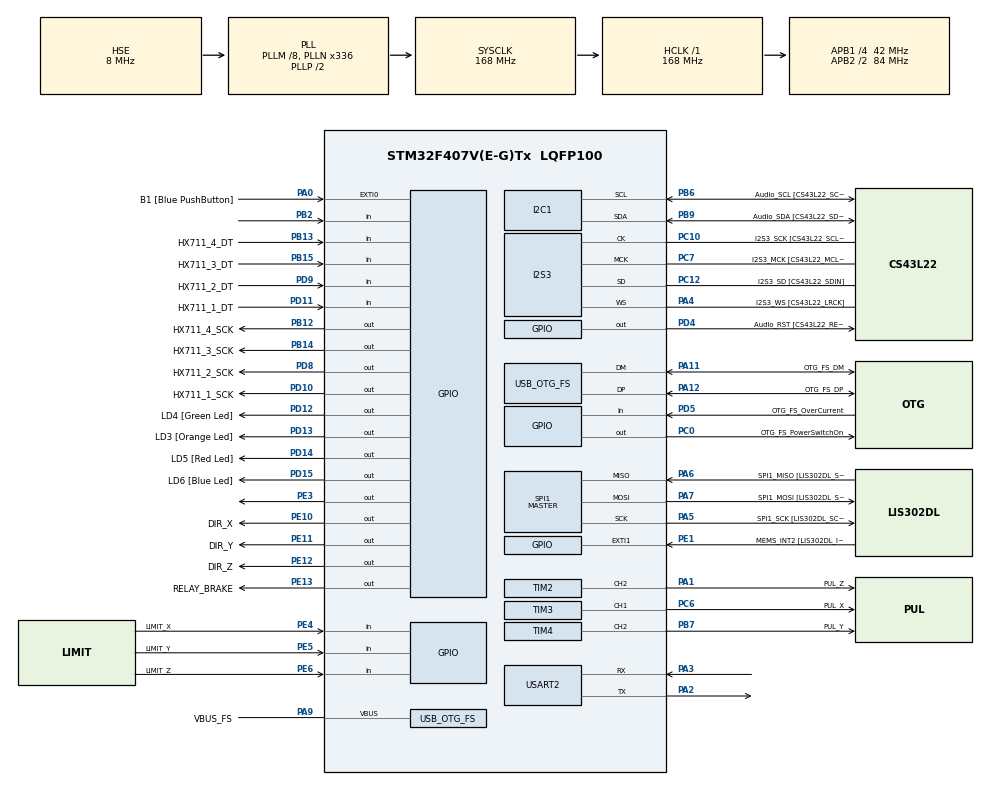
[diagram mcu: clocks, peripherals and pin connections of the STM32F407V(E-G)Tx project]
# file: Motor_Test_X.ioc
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I2S3.AudioFreq-Half_Duplex_Master=I2S_AUDIOFREQ_96K
I2S3.ErrorAudioFreq=-2.34 %
I2S3.ErrorAudioFreq-Half_Duplex_Master=0.8 %
I2S3.FullDuplexMode=I2S_FULLDUPLEXMODE_DISABLE
I2S3.Instance=SPI$Index
I2S3.RealAudioFreq=93.75 KHz
I2S3.RealAudioFreq-Half_Duplex_Master=96.774 KHz
I2S3.VirtualMode=I2S_MODE_MASTER
Mcu.Family=STM32F4
Mcu.Name=STM32F407V(E-G)Tx
Mcu.Package=LQFP100
NVIC.OTG_FS_IRQn=true\:0\:0\:false\:false\:true\:true\:true\:true
NVIC.PriorityGroup=NVIC_PRIORITYGROUP_0
NVIC.USART2_IRQn=true\:0\:0\:false\:false\:true\:true\:true\:true
PA0-WKUP.GPIO_Label=B1 [Blue PushButton]
PA0-WKUP.GPIO_ModeDefaultEXTI=GPIO_MODE_EVT_RISING
PA0-WKUP.GPIO_PuPd=GPIO_NOPULL
PA0-WKUP.Signal=GPXTI0
PA1.GPIO_Label=PUL_Z
PA1.Signal=S_TIM2_CH2
PA10.GPIO_Label=OTG_FS_ID
PA10.GPIO_Mode=GPIO_MODE_AF_PP
PA10.GPIO_PuPd=GPIO_NOPULL
PA10.GPIO_Speed=GPIO_SPEED_FREQ_LOW
PA10.Signal=USB_OTG_FS_ID
PA11.GPIO_Label=OTG_FS_DM
PA11.GPIO_Mode=GPIO_MODE_AF_PP
PA11.GPIO_PuPd=GPIO_NOPULL
PA11.GPIO_Speed=GPIO_SPEED_FREQ_LOW
PA11.Mode=Host_Only
PA11.Signal=USB_OTG_FS_DM
PA12.GPIO_Label=OTG_FS_DP
PA12.GPIO_Mode=GPIO_MODE_AF_PP
PA12.GPIO_PuPd=GPIO_NOPULL
PA12.GPIO_Speed=GPIO_SPEED_FREQ_LOW
PA12.Mode=Host_Only
PA12.Signal=USB_OTG_FS_DP
PA13.GPIO_Label=SWDIO
PA13.Mode=Serial_Wire
PA13.Signal=SYS_JTMS-SWDIO
PA14.GPIO_Label=SWCLK
PA14.Mode=Serial_Wire
PA14.Signal=SYS_JTCK-SWCLK
PA2.Mode=Asynchronous
PA2.Signal=USART2_TX
PA3.Mode=Asynchronous
PA3.Signal=USART2_RX
PA4.GPIO_Label=I2S3_WS [CS43L22_LRCK]
PA4.GPIO_Mode=GPIO_MODE_AF_PP
PA4.GPIO_PuPd=GPIO_NOPULL
PA4.GPIO_Speed=GPIO_SPEED_FREQ_LOW
PA4.Mode=Half_Duplex_Master
PA4.Signal=I2S3_WS
PA5.GPIO_Label=SPI1_SCK [LIS302DL_SCL/SPC]
PA5.GPIO_Mode=GPIO_MODE_AF_PP
PA5.GPIO_PuPd=GPIO_NOPULL
PA5.GPIO_Speed=GPIO_SPEED_FREQ_LOW
PA5.Mode=Full_Duplex_Master
PA5.Signal=SPI1_SCK
PA6.GPIO_Label=SPI1_MISO [LIS302DL_SDO]
PA6.GPIO_Mode=GPIO_MODE_AF_PP
PA6.GPIO_PuPd=GPIO_NOPULL
PA6.GPIO_Speed=GPIO_SPEED_FREQ_LOW
PA6.Mode=Full_Duplex_Master
PA6.Signal=SPI1_MISO
PA7.GPIO_Label=SPI1_MOSI [LIS302DL_SDA/SDI/SDO]
PA7.GPIO_Mode=GPIO_MODE_AF_PP
PA7.GPIO_PuPd=GPIO_NOPULL
PA7.GPIO_Speed=GPIO_SPEED_FREQ_LOW
PA7.Mode=Full_Duplex_Master
PA7.Signal=SPI1_MOSI
PA9.GPIO_Label=VBUS_FS
PA9.GPIO_Mode=GPIO_MODE_INPUT
PA9.GPIO_PuPd=GPIO_NOPULL
PA9.Mode=Activate_VBUS
PA9.Signal=USB_OTG_FS_VBUS
PB10.GPIO_Label=CLK_IN [MP45DT02_CLK]
PB10.GPIO_Mode=GPIO_MODE_AF_PP
PB10.GPIO_PuPd=GPIO_NOPULL
PB10.GPIO_Speed=GPIO_SPEED_FREQ_LOW
PB10.Signal=I2S2_CK
PB12.GPIO_Label=HX711_4_SCK
PB12.Signal=GPIO_Output
PB13.GPIO_Label=HX711_4_DT
PB13.Signal=GPIO_Input
PB14.GPIO_Label=HX711_3_SCK
PB14.Signal=GPIO_Output
PB15.GPIO_Label=HX711_3_DT
PB15.Signal=GPIO_Input
PB2.Signal=GPIO_Input
PB3.GPIO_Label=SWO
PB3.Signal=SYS_JTDO-SWO
PB6.GPIO_Label=Audio_SCL [CS43L22_SCL]
PB6.GPIO_Mode=GPIO_MODE_AF_OD
PB6.GPIO_Pu=GPIO_PULLUP
PB6.GPIO_PuPd=GPIO_NOPULL
PB6.GPIO_Speed=GPIO_SPEED_FREQ_LOW
PB6.Mode=I2C
PB6.Signal=I2C1_SCL
PB7.GPIO_Label=PUL_Y
PB7.Signal=S_TIM4_CH2
PB9.GPIO_Label=Audio_SDA [CS43L22_SDA]
PB9.GPIO_Mode=GPIO_MODE_AF_OD
PB9.GPIO_Pu=GPIO_PULLUP
PB9.GPIO_PuPd=GPIO_NOPULL
PB9.GPIO_Speed=GPIO_SPEED_FREQ_LOW
PB9.Mode=I2C
PB9.Signal=I2C1_SDA
PC0.GPIO_Label=OTG_FS_PowerSwitchOn
PC0.GPIO_PuPd=GPIO_NOPULL
PC0.GPIO_Speed=GPIO_SPEED_FREQ_LOW
PC0.PinState=GPIO_PIN_SET
PC0.Signal=GPIO_Output
PC10.GPIO_Label=I2S3_SCK [CS43L22_SCLK]
PC10.GPIO_Mode=GPIO_MODE_AF_PP
PC10.GPIO_PuPd=GPIO_NOPULL
PC10.GPIO_Speed=GPIO_SPEED_FREQ_LOW
PC10.Mode=Half_Duplex_Master
PC10.Signal=I2S3_CK
PC12.GPIO_Label=I2S3_SD [CS43L22_SDIN]
PC12.GPIO_Mode=GPIO_MODE_AF_PP
PC12.GPIO_PuPd=GPIO_NOPULL
PC12.GPIO_Speed=GPIO_SPEED_FREQ_LOW
PC12.Mode=Half_Duplex_Master
PC12.Signal=I2S3_SD
PC14-OSC32_IN.GPIO_Label=PC14-OSC32_IN
PC14-OSC32_IN.Mode=LSE-External-Oscillator
PC14-OSC32_IN.Signal=RCC_OSC32_IN
PC15-OSC32_OUT.GPIO_Label=PC15-OSC32_OUT
PC15-OSC32_OUT.Mode=LSE-External-Oscillator
PC15-OSC32_OUT.Signal=RCC_OSC32_OUT
PC3.GPIO_Label=PDM_OUT [MP45DT02_DOUT]
PC3.GPIO_Mode=GPIO_MODE_AF_PP
PC3.GPIO_PuPd=GPIO_NOPULL
PC3.GPIO_Speed=GPIO_SPEED_FREQ_LOW
PC3.Signal=I2S2_SD
PC6.GPIO_Label=PUL_X
PC6.Signal=S_TIM3_CH1
PC7.GPIO_Label=I2S3_MCK [CS43L22_MCLK]
PC7.GPIO_Mode=GPIO_MODE_AF_PP
PC7.GPIO_PuPd=GPIO_NOPULL
PC7.GPIO_Speed=GPIO_SPEED_FREQ_LOW
PC7.Mode=Master_Clock_Activated
PC7.Signal=I2S3_MCK
PD10.GPIO_Label=HX711_1_SCK
PD10.Signal=GPIO_Output
PD11.GPIO_Label=HX711_1_DT
PD11.Signal=GPIO_Input
PD12.GPIO_Label=LD4 [Green Led]
PD12.GPIO_PuPd=GPIO_NOPULL
PD12.GPIO_Speed=GPIO_SPEED_FREQ_LOW
PD12.Signal=GPIO_Output
PD13.GPIO_Label=LD3 [Orange Led]
PD13.GPIO_PuPd=GPIO_NOPULL
PD13.GPIO_Speed=GPIO_SPEED_FREQ_LOW
PD13.Signal=GPIO_Output
PD14.GPIO_Label=LD5 [Red Led]
PD14.GPIO_PuPd=GPIO_NOPULL
PD14.GPIO_Speed=GPIO_SPEED_FREQ_LOW
PD14.Signal=GPIO_Output
PD15.GPIO_Label=LD6 [Blue Led]
PD15.GPIO_PuPd=GPIO_NOPULL
PD15.GPIO_Speed=GPIO_SPEED_FREQ_LOW
PD15.Signal=GPIO_Output
PD4.GPIO_Label=Audio_RST [CS43L22_RESET]
PD4.GPIO_PuPd=GPIO_NOPULL
PD4.GPIO_Speed=GPIO_SPEED_FREQ_LOW
PD4.Signal=GPIO_Output
PD5.GPIO_Label=OTG_FS_OverCurrent
PD5.GPIO_Mode=GPIO_MODE_INPUT
PD5.GPIO_PuPd=GPIO_NOPULL
PD5.Signal=GPIO_Input
PD8.GPIO_Label=HX711_2_SCK
PD8.Signal=GPIO_Output
PD9.GPIO_Label=HX711_2_DT
PD9.Signal=GPIO_Input
PE1.GPIO_Label=MEMS_INT2 [LIS302DL_INT2]
PE1.GPIO_ModeDefaultEXTI=GPIO_MODE_EVT_RISING
PE1.GPIO_PuPd=GPIO_NOPULL
PE1.Signal=GPXTI1
PE10.GPIO_Label=DIR_X
PE10.Signal=GPIO_Output
PE11.GPIO_Label=DIR_Y
PE11.Signal=GPIO_Output
PE12.GPIO_Label=DIR_Z
PE12.Signal=GPIO_Output
PE13.GPIO_Label=RELAY_BRAKE
PE13.GPIO_ModeDefaultOutputPP=GPIO_MODE_OUTPUT_OD
PE13.GPIO_PuPd=GPIO_NOPULL
PE13.PinState=GPIO_PIN_SET
PE13.Signal=GPIO_Output
PE3.Signal=GPIO_Output
PE4.GPIO_Label=LIMIT_X
PE4.GPIO_PuPd=GPIO_PULLUP
PE4.Signal=GPIO_Input
PE5.GPIO_Label=LIMIT_Y
PE5.GPIO_PuPd=GPIO_PULLUP
PE5.Signal=GPIO_Input
PE6.GPIO_Label=LIMIT_Z
PE6.GPIO_PuPd=GPIO_PULLUP
PE6.Signal=GPIO_Input
PH0-OSC_IN.GPIO_Label=PH0-OSC_IN
PH0-OSC_IN.Mode=HSE-External-Oscillator
PH0-OSC_IN.Signal=RCC_OSC_IN
PH1-OSC_OUT.GPIO_Label=PH1-OSC_OUT
PH1-OSC_OUT.Mode=HSE-External-Oscillator
PH1-OSC_OUT.Signal=RCC_OSC_OUT
ProjectManager.HeapSize=0x200
ProjectManager.StackSize=0x400
ProjectManager.TargetToolchain=STM32CubeIDE
RCC.48MHZClocksFreq_Value=48000000
RCC.AHBFreq_Value=168000000
RCC.APB1CLKDivider=RCC_HCLK_DIV4
RCC.APB1Freq_Value=42000000
RCC.APB1TimFreq_Value=84000000
RCC.APB2CLKDivider=RCC_HCLK_DIV2
RCC.APB2Freq_Value=84000000
RCC.APB2TimFreq_Value=168000000
RCC.CortexFreq_Value=168000000
RCC.HCLKFreq_Value=168000000
RCC.HSE_VALUE=8000000
RCC.HSI_VALUE=16000000
RCC.PLLM=8
RCC.PLLN=336
RCC.PLLQ=7
RCC.SYSCLKFreq_VALUE=168000000
RCC.SYSCLKSource=RCC_SYSCLKSOURCE_PLLCLK
RCC.VCOOutputFreq_Value=336000000
SH.S_TIM2_CH2.0=TIM2_CH2,PWM Generation2 CH2
SH.S_TIM3_CH1.0=TIM3_CH1,PWM Generation1 CH1
SH.S_TIM4_CH2.0=TIM4_CH2,PWM Generation2 CH2
SPI1.BaudRatePrescaler-Full_Duplex_Master=SPI_BAUDRATEPRESCALER_2
SPI1.CalculateBaudRate-Full_Duplex_Master=42.0 MBits/s
SPI1.Direction=SPI_DIRECTION_2LINES
SPI1.Mode=SPI_MODE_MASTER
SPI1.Mode-Full_Duplex_Master=SPI_MODE_MASTER
SPI1.VirtualType=VM_MASTER
TIM2.AutoReloadPreload=TIM_AUTORELOAD_PRELOAD_ENABLE
TIM2.Channel-PWM\ Generation2\ CH2=TIM_CHANNEL_2
TIM2.Period=1000-1
TIM2.Prescaler=84-1
TIM2.Pulse-PWM\ Generation2\ CH2=500
TIM3.AutoReloadPreload=TIM_AUTORELOAD_PRELOAD_ENABLE
TIM3.Channel-PWM\ Generation1\ CH1=TIM_CHANNEL_1
TIM3.Period=1000-1
TIM3.Prescaler=84-1
TIM3.Pulse-PWM\ Generation1\ CH1=500
TIM4.AutoReloadPreload=TIM_AUTORELOAD_PRELOAD_ENABLE
TIM4.Channel-PWM\ Generation2\ CH2=TIM_CHANNEL_2
TIM4.Period=1000-1
TIM4.Prescaler=84-1
TIM4.Pulse-PWM\ Generation2\ CH2=500
USART2.VirtualMode=VM_ASYNC
USB_HOST.BSP.number=1
USB_HOST.USBH_HandleTypeDef-CDC_FS=hUsbHostFS
USB_HOST.VirtualModeFS=Cdc
USB_HOST0.BSP.STBoard=false
USB_HOST0.BSP.api=Unknown
USB_HOST0.BSP.instance=PC0
USB_HOST0.BSP.ip=GPIO
USB_HOST0.BSP.mode=Output
USB_HOST0.BSP.name=Drive_VBUS_FS
USB_HOST0.BSP.solution=PC0
USB_OTG_FS.VirtualMode=Host_Only
USB_OTG_FS.phy_itface=HCD_PHY_EMBEDDED
VP_TIM2_VS_ClockSourceINT.Mode=Internal
VP_TIM3_VS_ClockSourceINT.Mode=Internal
VP_TIM4_VS_ClockSourceINT.Mode=Internal
VP_USB_HOST_VS_USB_HOST_CDC_FS.Mode=CDC_FS
board=STM32F407G-DISC1

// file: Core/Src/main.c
/* USER CODE BEGIN Header */
/**
 ******************************************************************************
 * @file           : main.c
 * @brief          : Main program body
 ******************************************************************************
 * @attention
 *
 * Copyright (c) 2026 STMicroelectronics.
 * All rights reserved.
 *
 * This software is licensed under terms that can be found in the LICENSE file
 * in the root directory of this software component.
 * If no LICENSE file comes with this software, it is provided AS-IS.
 *
 ******************************************************************************
 */
/* USER CODE END Header */
#include "main.h"
#include "usb_host.h"

/* USER CODE BEGIN Includes */
#include <stdio.h>
#include <string.h>
/* USER CODE END Includes */

/* USER CODE BEGIN PD */

// Travel limits (mm) — matched to physical gantry dimensions
#define POS_MIN_X 0.0f
#define POS_MAX_X 510.0f
#define POS_MIN_Y 0.0f
#define POS_MAX_Y 230.0f
#define POS_MIN_Z 0.0f
#define POS_MAX_Z 200.0f

// Maximum time (ms) to wait for a limit switch during homing
#define HOMING_TIMEOUT_MS 60000

// Homing speed (mm/s) — slow and safe
#define HOMING_SPEED_MMPS 8.0f

// Debounce: switch must stay triggered for this many consecutive reads
// to filter EMI noise from stepper motors
#define HOMING_DEBOUNCE_COUNT  5
#define HOMING_DEBOUNCE_MS    10

/* USER CODE END PD */

I2C_HandleTypeDef hi2c1;

I2S_HandleTypeDef hi2s3;

SPI_HandleTypeDef hspi1;

TIM_HandleTypeDef htim2;
TIM_HandleTypeDef htim3;
TIM_HandleTypeDef htim4;

UART_HandleTypeDef huart2;

/* USER CODE BEGIN PV */
uint8_t rx_char; // Stores the incoming single character temporarily

// --- UART Parsing Buffer ---
char rx_buffer[64];
volatile uint8_t rx_index = 0;
volatile uint8_t new_target_received = 0;

// --- Game Target Variables ---
volatile float target_X = 0.0f;
volatile float target_Y = 0.0f;
volatile float target_Z = 0.0f;
volatile float stiffness_K = 0.0f;
volatile int z_enable = 0; // NEW: 0 = Brake Clamped, 1 = Brake Unclamped

// --- Telemetry & State Variables ---
char tx_buffer[128];
volatile uint8_t tx_complete = 1; // 1 = ready to send, 0 = TX in progress
uint32_t last_telemetry_time = 0;

// These will eventually be controlled by your Admittance math
volatile float current_pos_X = 0.0f;
volatile float current_pos_Y = 0.0f;
volatile float current_pos_Z = 0.0f;

// ==========================================
//    4-CELL FORCE SENSOR CONFIGURATION
// ==========================================

// --- Tare Settings ---
#define TARE_SAMPLES     20
#define TARE_SETTLE_MS   2000

// --- Hardcoded Fallback Offsets ---
#define HARDCODED_OFFSET_1  0
#define HARDCODED_OFFSET_2  0
#define HARDCODED_OFFSET_3  0
#define HARDCODED_OFFSET_4  0

// --- Per-Cell Scale Factors (counts per Newton) ---
#define SCALE_1  50000.0f
#define SCALE_2  50000.0f
#define SCALE_3  50000.0f
#define SCALE_4  50000.0f

// --- 3x4 Decoupling Matrix ---
//   F_X = +C2 - C4           (right minus left)
//   F_Y = +C1 - C3           (forward minus backward)
//   F_Z = (+C1 - C2 - C3 - C4) / 4  (pull up = positive)
#define D_X1   0.0f
#define D_X2   1.0f
#define D_X3   0.0f
#define D_X4  -1.0f
#define D_Y1   1.0f
#define D_Y2   0.0f
#define D_Y3  -1.0f
#define D_Y4   0.0f
#define D_Z1   0.25f
#define D_Z2  -0.25f
#define D_Z3  -0.25f
#define D_Z4  -0.25f

// --- EMA Filter ---
#define EMA_ALPHA 0.3f

// --- Clamp threshold for 24-bit wrap detection ---
#define MAX_SANE_ZEROED 5000000

// --- 4-Cell State Variables ---
int32_t offset_1 = 0, offset_2 = 0, offset_3 = 0, offset_4 = 0;
int32_t raw_1 = 0, raw_2 = 0, raw_3 = 0, raw_4 = 0;
int32_t last_good_z1 = 0, last_good_z2 = 0, last_good_z3 = 0, last_good_z4 = 0;
float cell_scale_1 = SCALE_1, cell_scale_2 = SCALE_2;
float cell_scale_3 = SCALE_3, cell_scale_4 = SCALE_4;
float newton_1 = 0, newton_2 = 0, newton_3 = 0, newton_4 = 0;
float decouple[3][4] = {
    {D_X1, D_X2, D_X3, D_X4},
    {D_Y1, D_Y2, D_Y3, D_Y4},
    {D_Z1, D_Z2, D_Z3, D_Z4},
};
float ema_X = 0, ema_Y = 0, ema_Z = 0;
uint8_t ema_primed = 0;
uint8_t tare_done = 0;
uint8_t motor_test_mode = 0;  // When 1: forces zeroed, auto-pull only

// Final Force Data (Newtons) — read by SysTick for admittance math
volatile float force_X = 0.0f;
volatile float force_Y = 0.0f;
volatile float force_Z = 0.0f;

// ==========================================
//    MOTOR PHYSICS CONSTANTS
// ==========================================
#define MAX_VELOCITY 100.0f
#define PULSES_PER_MM 80.0f
#define TIMER_CLOCK 1000000.0f

volatile float velocity_X = 0.0f;
volatile float velocity_Y = 0.0f;
volatile float velocity_Z = 0.0f;

// Flag: prevents SysTick from overriding timer registers during homing
volatile uint8_t homing_active = 0;

/* USER CODE END PV */

void SystemClock_Config(void);
static void MX_GPIO_Init(void);
static void MX_I2C1_Init(void);
static void MX_I2S3_Init(void);
static void MX_SPI1_Init(void);
static void MX_TIM3_Init(void);
static void MX_TIM2_Init(void);
static void MX_TIM4_Init(void);
static void MX_USART2_UART_Init(void);
void MX_USB_HOST_Process(void);

/* USER CODE BEGIN PFP */
uint8_t Try_Read_HX711(GPIO_TypeDef *dt_port, uint16_t dt_pin,
                       GPIO_TypeDef *sck_port, uint16_t sck_pin,
                       int32_t *out_data);
void Force_Tare(void);
void Force_Update(volatile float *fx, volatile float *fy, volatile float *fz);
/* USER CODE END PFP */

int main(void) {

  /* MCU Configuration--------------------------------------------------------*/

  /* Reset of all peripherals, Initializes the Flash interface and the Systick.
   */
  HAL_Init();

  /* Configure the system clock */
  SystemClock_Config();

  /* Initialize all configured peripherals */
  MX_GPIO_Init();
  MX_I2C1_Init();
  MX_I2S3_Init();
  MX_SPI1_Init();
  MX_USB_HOST_Init();
  MX_TIM3_Init();
  MX_TIM2_Init();
  MX_TIM4_Init();
  MX_USART2_UART_Init();

  // Tell the STM32 to listen for exactly 1 byte of data into rx_char
  HAL_UART_Receive_IT(&huart2, &rx_char, 1);

  // --- Pre-start all PWM timers with compare=0 (silent) ---
  // This ensures the timers are running before homing, so we can
  // control motors by just changing ARR/compare (same as gameplay).
  __HAL_TIM_SET_COMPARE(&htim3, TIM_CHANNEL_1, 0);
  __HAL_TIM_SET_COMPARE(&htim4, TIM_CHANNEL_2, 0);
  __HAL_TIM_SET_COMPARE(&htim2, TIM_CHANNEL_2, 0);
  HAL_TIM_PWM_Start(&htim3, TIM_CHANNEL_1);
  HAL_TIM_PWM_Start(&htim4, TIM_CHANNEL_2);
  HAL_TIM_PWM_Start(&htim2, TIM_CHANNEL_2);

  // ==========================================
  //         THE HOMING RITUAL
  // ==========================================
  homing_active = 1;  // Tell SysTick to leave timers alone

  // --- Step 1: Home the Z-Axis (UPWARDS) ---
  // Unclamp the Z-axis brake so it can move
  HAL_GPIO_WritePin(RELAY_BRAKE_GPIO_Port, RELAY_BRAKE_Pin, GPIO_PIN_RESET);
  HAL_Delay(50); // Wait 50ms for the mechanical relay to click open

  // Set direction to move TOWARD the Z switch (TOP)
  HAL_GPIO_WritePin(DIR_Z_GPIO_Port, DIR_Z_Pin, GPIO_PIN_SET);

  // Set homing speed (timers are already running with compare=0)
  {
    float freq = HOMING_SPEED_MMPS * PULSES_PER_MM;
    uint32_t arr = (uint32_t)(TIMER_CLOCK / freq);
    __HAL_TIM_SET_AUTORELOAD(&htim2, arr);
    __HAL_TIM_SET_COMPARE(&htim2, TIM_CHANNEL_2, arr / 2);
  }

  // Wait until the Z-switch triggers (debounced) or timeout
  uint32_t home_start = HAL_GetTick();
  uint8_t z_debounce = 0;
  while (1) {
    if (HAL_GetTick() - home_start > HOMING_TIMEOUT_MS) {
      __HAL_TIM_SET_COMPARE(&htim2, TIM_CHANNEL_2, 0);
      Error_Handler();
    }
    if (HAL_GPIO_ReadPin(GPIOE, LIMIT_Z_Pin) == GPIO_PIN_SET) {
      z_debounce++;
      if (z_debounce >= HOMING_DEBOUNCE_COUNT) break; // Confirmed!
      HAL_Delay(HOMING_DEBOUNCE_MS);
    } else {
      z_debounce = 0; // Reset — was just noise
    }
  }

  __HAL_TIM_SET_COMPARE(&htim2, TIM_CHANNEL_2, 0);
  current_pos_Z = 0.0f;

  // --- Step 2: Home the X and Y Axes (Simultaneously) ---
  HAL_GPIO_WritePin(DIR_X_GPIO_Port, DIR_X_Pin, GPIO_PIN_RESET); // X inverted to move Left toward switch
  HAL_GPIO_WritePin(DIR_Y_GPIO_Port, DIR_Y_Pin, GPIO_PIN_SET);

  // Set homing speed on X and Y (timers already running)
  {
    float freq = HOMING_SPEED_MMPS * PULSES_PER_MM;
    uint32_t arr = (uint32_t)(TIMER_CLOCK / freq);
    __HAL_TIM_SET_AUTORELOAD(&htim3, arr);
    __HAL_TIM_SET_COMPARE(&htim3, TIM_CHANNEL_1, arr / 2);
    __HAL_TIM_SET_AUTORELOAD(&htim4, arr);
    __HAL_TIM_SET_COMPARE(&htim4, TIM_CHANNEL_2, arr / 2);
  }

  uint8_t x_homed = 0;
  uint8_t y_homed = 0;
  uint8_t x_debounce = 0;
  uint8_t y_debounce = 0;

  // Loop until BOTH axes have confirmed switch hits (debounced) with timeout
  home_start = HAL_GetTick();
  while (x_homed == 0 || y_homed == 0) {
    if (HAL_GetTick() - home_start > HOMING_TIMEOUT_MS) {
      __HAL_TIM_SET_COMPARE(&htim3, TIM_CHANNEL_1, 0);
      __HAL_TIM_SET_COMPARE(&htim4, TIM_CHANNEL_2, 0);
      Error_Handler();
    }

    // --- X debounce ---
    if (x_homed == 0) {
      if (HAL_GPIO_ReadPin(GPIOE, LIMIT_X_Pin) == GPIO_PIN_SET) {
        x_debounce++;
        if (x_debounce >= HOMING_DEBOUNCE_COUNT) {
          __HAL_TIM_SET_COMPARE(&htim3, TIM_CHANNEL_1, 0);
          current_pos_X = 0.0f;
          x_homed = 1;
        }
      } else {
        x_debounce = 0;
      }
    }

    // --- Y debounce ---
    if (y_homed == 0) {
      if (HAL_GPIO_ReadPin(GPIOE, LIMIT_Y_Pin) == GPIO_PIN_SET) {
        y_debounce++;
        if (y_debounce >= HOMING_DEBOUNCE_COUNT) {
          __HAL_TIM_SET_COMPARE(&htim4, TIM_CHANNEL_2, 0);
          current_pos_Y = 0.0f;
          y_homed = 1;
        }
      } else {
        y_debounce = 0;
      }
    }

    HAL_Delay(HOMING_DEBOUNCE_MS);
  }

  // ==========================================
  //        HOMING COMPLETE
  // ==========================================

  // Clamp the Z brake again until the Python game tells us to start
  HAL_GPIO_WritePin(RELAY_BRAKE_GPIO_Port, RELAY_BRAKE_Pin, GPIO_PIN_SET);

  // Ensure all motors are silent (timers already running from pre-start)
  __HAL_TIM_SET_COMPARE(&htim3, TIM_CHANNEL_1, 0);
  __HAL_TIM_SET_COMPARE(&htim4, TIM_CHANNEL_2, 0);
  __HAL_TIM_SET_COMPARE(&htim2, TIM_CHANNEL_2, 0);

  homing_active = 0;  // SysTick can now control motors

  // ==========================================
  //     FORCE SENSOR TARE (AUTO-ZERO)
  // ==========================================
  HAL_Delay(TARE_SETTLE_MS);
  Force_Tare();

  // Notify Python that homing is complete
  const char *homed_msg = "<HOMED>\n";
  HAL_UART_Transmit(&huart2, (uint8_t *)homed_msg, strlen(homed_msg), 50);

  // Sync telemetry timer so it doesn't burst-fire after the homing delay
  last_telemetry_time = HAL_GetTick();
  /* USER CODE END 2 */

  /* Infinite loop */
  while (1) {
    MX_USB_HOST_Process();

    /* USER CODE BEGIN 3 */

    // --- Read Force Sensors ---
    // Motor test mode: ignore forces entirely, auto-pull handles movement
    // Normal mode: read forces when K > 0, zero when idle
    if (motor_test_mode) {
      Force_Update(&force_X, &force_Y, &force_Z);  // keep raw values fresh
      force_X = 0.0f;
      force_Y = 0.0f;
      force_Z = 0.0f;
    } else if (stiffness_K > 0.0f) {
      Force_Update(&force_X, &force_Y, &force_Z);
    } else {
      Force_Update(&force_X, &force_Y, &force_Z);
      force_X = 0.0f;
      force_Y = 0.0f;
      force_Z = 0.0f;
    }

    // --- Process Incoming Python Commands ---
    if (new_target_received == 1) {
      // Check for TARE command first
      if (strcmp(rx_buffer, "TARE") == 0) {
        HAL_Delay(500);
        Force_Tare();
        ema_primed = 0;
      } else if (strcmp(rx_buffer, "MTEST") == 0) {
        motor_test_mode = 1;  // Enable motor test (forces ignored)
      } else if (strcmp(rx_buffer, "MTEST_OFF") == 0) {
        motor_test_mode = 0;  // Disable motor test
      } else {
        // Parse target command: TGT:x,y,z|K:value|Z:enable
        float tmp_tx, tmp_ty, tmp_tz, tmp_k;
        int tmp_zen;

        int parsed = sscanf(rx_buffer, "TGT:%f,%f,%f|K:%f|Z:%d", &tmp_tx, &tmp_ty,
                            &tmp_tz, &tmp_k, &tmp_zen);

        if (parsed == 5) {
          __disable_irq();
          target_X = tmp_tx;
          target_Y = tmp_ty;
          target_Z = tmp_tz;
          stiffness_K = tmp_k;
          __enable_irq();

          z_enable = tmp_zen;

          if (z_enable == 1) {
            HAL_GPIO_WritePin(RELAY_BRAKE_GPIO_Port, RELAY_BRAKE_Pin,
                              GPIO_PIN_RESET);
          } else {
            HAL_GPIO_WritePin(RELAY_BRAKE_GPIO_Port, RELAY_BRAKE_Pin,
                              GPIO_PIN_SET);
          }
        }
      }

      new_target_received = 0;
    }

    // --- Transmit Telemetry to Python (~60 Hz) ---
    if (HAL_GetTick() - last_telemetry_time >= 16) {
      last_telemetry_time += 16; // Anchored increment prevents drift

      // Snapshot positions AND velocities atomically
      float tx_pX, tx_pY, tx_pZ, tx_vX, tx_vY, tx_vZ;
      __disable_irq();
      tx_pX = current_pos_X;
      tx_pY = current_pos_Y;
      tx_pZ = current_pos_Z;
      tx_vX = velocity_X;
      tx_vY = velocity_Y;
      tx_vZ = velocity_Z;
      __enable_irq();

      // Velocity reads keep debug symbols alive — suppress unused warnings
      (void)tx_vX;
      (void)tx_vY;
      (void)tx_vZ;

      // Format matches Python regex: <POS:x,y,z|FRC:fx,fy,fz>
      snprintf(tx_buffer, sizeof(tx_buffer),
               "<POS:%.2f,%.2f,%.2f|FRC:%.2f,%.2f,%.2f>\n", tx_pX, tx_pY,
               tx_pZ, force_X, -force_Y, force_Z);

      // Send over UART (blocking — proven reliable)
      HAL_UART_Transmit(&huart2, (uint8_t *)tx_buffer, strlen(tx_buffer), 10);
    }

    // Tiny delay to make the debug viewer readable
    HAL_Delay(10);
  }
  /* USER CODE END 3 */
}

void SystemClock_Config(void) {
  RCC_OscInitTypeDef RCC_OscInitStruct = {0};
  RCC_ClkInitTypeDef RCC_ClkInitStruct = {0};

  /** Configure the main internal regulator output voltage
   */
  __HAL_RCC_PWR_CLK_ENABLE();
  __HAL_PWR_VOLTAGESCALING_CONFIG(PWR_REGULATOR_VOLTAGE_SCALE1);

  /** Initializes the RCC Oscillators according to the specified parameters
   * in the RCC_OscInitTypeDef structure.
   */
  RCC_OscInitStruct.OscillatorType = RCC_OSCILLATORTYPE_HSE;
  RCC_OscInitStruct.HSEState = RCC_HSE_ON;
  RCC_OscInitStruct.PLL.PLLState = RCC_PLL_ON;
  RCC_OscInitStruct.PLL.PLLSource = RCC_PLLSOURCE_HSE;
  RCC_OscInitStruct.PLL.PLLM = 8;
  RCC_OscInitStruct.PLL.PLLN = 336;
  RCC_OscInitStruct.PLL.PLLP = RCC_PLLP_DIV2;
  RCC_OscInitStruct.PLL.PLLQ = 7;
  if (HAL_RCC_OscConfig(&RCC_OscInitStruct) != HAL_OK) {
    Error_Handler();
  }

  /** Initializes the CPU, AHB and APB buses clocks
   */
  RCC_ClkInitStruct.ClockType = RCC_CLOCKTYPE_HCLK | RCC_CLOCKTYPE_SYSCLK |
                                RCC_CLOCKTYPE_PCLK1 | RCC_CLOCKTYPE_PCLK2;
  RCC_ClkInitStruct.SYSCLKSource = RCC_SYSCLKSOURCE_PLLCLK;
  RCC_ClkInitStruct.AHBCLKDivider = RCC_SYSCLK_DIV1;
  RCC_ClkInitStruct.APB1CLKDivider = RCC_HCLK_DIV4;
  RCC_ClkInitStruct.APB2CLKDivider = RCC_HCLK_DIV2;

  if (HAL_RCC_ClockConfig(&RCC_ClkInitStruct, FLASH_LATENCY_5) != HAL_OK) {
    Error_Handler();
  }
}

static void MX_I2C1_Init(void) {

  hi2c1.Instance = I2C1;
  hi2c1.Init.ClockSpeed = 100000;
  hi2c1.Init.DutyCycle = I2C_DUTYCYCLE_2;
  hi2c1.Init.OwnAddress1 = 0;
  hi2c1.Init.AddressingMode = I2C_ADDRESSINGMODE_7BIT;
  hi2c1.Init.DualAddressMode = I2C_DUALADDRESS_DISABLE;
  hi2c1.Init.OwnAddress2 = 0;
  hi2c1.Init.GeneralCallMode = I2C_GENERALCALL_DISABLE;
  hi2c1.Init.NoStretchMode = I2C_NOSTRETCH_DISABLE;
  if (HAL_I2C_Init(&hi2c1) != HAL_OK) {
    Error_Handler();
  }
}

static void MX_I2S3_Init(void) {

  hi2s3.Instance = SPI3;
  hi2s3.Init.Mode = I2S_MODE_MASTER_TX;
  hi2s3.Init.Standard = I2S_STANDARD_PHILIPS;
  hi2s3.Init.DataFormat = I2S_DATAFORMAT_16B;
  hi2s3.Init.MCLKOutput = I2S_MCLKOUTPUT_ENABLE;
  hi2s3.Init.AudioFreq = I2S_AUDIOFREQ_96K;
  hi2s3.Init.CPOL = I2S_CPOL_LOW;
  hi2s3.Init.ClockSource = I2S_CLOCK_PLL;
  hi2s3.Init.FullDuplexMode = I2S_FULLDUPLEXMODE_DISABLE;
  if (HAL_I2S_Init(&hi2s3) != HAL_OK) {
    Error_Handler();
  }
}

static void MX_SPI1_Init(void) {

  /* SPI1 parameter configuration*/
  hspi1.Instance = SPI1;
  hspi1.Init.Mode = SPI_MODE_MASTER;
  hspi1.Init.Direction = SPI_DIRECTION_2LINES;
  hspi1.Init.DataSize = SPI_DATASIZE_8BIT;
  hspi1.Init.CLKPolarity = SPI_POLARITY_LOW;
  hspi1.Init.CLKPhase = SPI_PHASE_1EDGE;
  hspi1.Init.NSS = SPI_NSS_SOFT;
  hspi1.Init.BaudRatePrescaler = SPI_BAUDRATEPRESCALER_2;
  hspi1.Init.FirstBit = SPI_FIRSTBIT_MSB;
  hspi1.Init.TIMode = SPI_TIMODE_DISABLE;
  hspi1.Init.CRCCalculation = SPI_CRCCALCULATION_DISABLE;
  hspi1.Init.CRCPolynomial = 10;
  if (HAL_SPI_Init(&hspi1) != HAL_OK) {
    Error_Handler();
  }
}

static void MX_TIM2_Init(void) {

  TIM_ClockConfigTypeDef sClockSourceConfig = {0};
  TIM_MasterConfigTypeDef sMasterConfig = {0};
  TIM_OC_InitTypeDef sConfigOC = {0};

  htim2.Instance = TIM2;
  htim2.Init.Prescaler = 84 - 1;
  htim2.Init.CounterMode = TIM_COUNTERMODE_UP;
  htim2.Init.Period = 1000 - 1;
  htim2.Init.ClockDivision = TIM_CLOCKDIVISION_DIV1;
  htim2.Init.AutoReloadPreload = TIM_AUTORELOAD_PRELOAD_ENABLE;
  if (HAL_TIM_Base_Init(&htim2) != HAL_OK) {
    Error_Handler();
  }
  sClockSourceConfig.ClockSource = TIM_CLOCKSOURCE_INTERNAL;
  if (HAL_TIM_ConfigClockSource(&htim2, &sClockSourceConfig) != HAL_OK) {
    Error_Handler();
  }
  if (HAL_TIM_PWM_Init(&htim2) != HAL_OK) {
    Error_Handler();
  }
  sMasterConfig.MasterOutputTrigger = TIM_TRGO_RESET;
  sMasterConfig.MasterSlaveMode = TIM_MASTERSLAVEMODE_DISABLE;
  if (HAL_TIMEx_MasterConfigSynchronization(&htim2, &sMasterConfig) != HAL_OK) {
    Error_Handler();
  }
  sConfigOC.OCMode = TIM_OCMODE_PWM1;
  sConfigOC.Pulse = 500;
  sConfigOC.OCPolarity = TIM_OCPOLARITY_HIGH;
  sConfigOC.OCFastMode = TIM_OCFAST_DISABLE;
  if (HAL_TIM_PWM_ConfigChannel(&htim2, &sConfigOC, TIM_CHANNEL_2) != HAL_OK) {
    Error_Handler();
  }
  HAL_TIM_MspPostInit(&htim2);
}

static void MX_TIM3_Init(void) {

  TIM_ClockConfigTypeDef sClockSourceConfig = {0};
  TIM_MasterConfigTypeDef sMasterConfig = {0};
  TIM_OC_InitTypeDef sConfigOC = {0};

  htim3.Instance = TIM3;
  htim3.Init.Prescaler = 84 - 1;
  htim3.Init.CounterMode = TIM_COUNTERMODE_UP;
  htim3.Init.Period = 1000 - 1;
  htim3.Init.ClockDivision = TIM_CLOCKDIVISION_DIV1;
  htim3.Init.AutoReloadPreload = TIM_AUTORELOAD_PRELOAD_ENABLE;
  if (HAL_TIM_Base_Init(&htim3) != HAL_OK) {
    Error_Handler();
  }
  sClockSourceConfig.ClockSource = TIM_CLOCKSOURCE_INTERNAL;
  if (HAL_TIM_ConfigClockSource(&htim3, &sClockSourceConfig) != HAL_OK) {
    Error_Handler();
  }
  if (HAL_TIM_PWM_Init(&htim3) != HAL_OK) {
    Error_Handler();
  }
  sMasterConfig.MasterOutputTrigger = TIM_TRGO_RESET;
  sMasterConfig.MasterSlaveMode = TIM_MASTERSLAVEMODE_DISABLE;
  if (HAL_TIMEx_MasterConfigSynchronization(&htim3, &sMasterConfig) != HAL_OK) {
    Error_Handler();
  }
  sConfigOC.OCMode = TIM_OCMODE_PWM1;
  sConfigOC.Pulse = 500;
  sConfigOC.OCPolarity = TIM_OCPOLARITY_HIGH;
  sConfigOC.OCFastMode = TIM_OCFAST_DISABLE;
  if (HAL_TIM_PWM_ConfigChannel(&htim3, &sConfigOC, TIM_CHANNEL_1) != HAL_OK) {
    Error_Handler();
  }
  HAL_TIM_MspPostInit(&htim3);
}

static void MX_TIM4_Init(void) {

  TIM_ClockConfigTypeDef sClockSourceConfig = {0};
  TIM_MasterConfigTypeDef sMasterConfig = {0};
  TIM_OC_InitTypeDef sConfigOC = {0};

  htim4.Instance = TIM4;
  htim4.Init.Prescaler = 84 - 1;
  htim4.Init.CounterMode = TIM_COUNTERMODE_UP;
  htim4.Init.Period = 1000 - 1;
  htim4.Init.ClockDivision = TIM_CLOCKDIVISION_DIV1;
  htim4.Init.AutoReloadPreload = TIM_AUTORELOAD_PRELOAD_ENABLE;
  if (HAL_TIM_Base_Init(&htim4) != HAL_OK) {
    Error_Handler();
  }
  sClockSourceConfig.ClockSource = TIM_CLOCKSOURCE_INTERNAL;
  if (HAL_TIM_ConfigClockSource(&htim4, &sClockSourceConfig) != HAL_OK) {
    Error_Handler();
  }
  if (HAL_TIM_PWM_Init(&htim4) != HAL_OK) {
    Error_Handler();
  }
  sMasterConfig.MasterOutputTrigger = TIM_TRGO_RESET;
  sMasterConfig.MasterSlaveMode = TIM_MASTERSLAVEMODE_DISABLE;
  if (HAL_TIMEx_MasterConfigSynchronization(&htim4, &sMasterConfig) != HAL_OK) {
    Error_Handler();
  }
  sConfigOC.OCMode = TIM_OCMODE_PWM1;
  sConfigOC.Pulse = 500;
  sConfigOC.OCPolarity = TIM_OCPOLARITY_HIGH;
  sConfigOC.OCFastMode = TIM_OCFAST_DISABLE;
  if (HAL_TIM_PWM_ConfigChannel(&htim4, &sConfigOC, TIM_CHANNEL_2) != HAL_OK) {
    Error_Handler();
  }
  HAL_TIM_MspPostInit(&htim4);
}

static void MX_USART2_UART_Init(void) {

  huart2.Instance = USART2;
  huart2.Init.BaudRate = 115200;
  huart2.Init.WordLength = UART_WORDLENGTH_8B;
  huart2.Init.StopBits = UART_STOPBITS_1;
  huart2.Init.Parity = UART_PARITY_NONE;
  huart2.Init.Mode = UART_MODE_TX_RX;
  huart2.Init.HwFlowCtl = UART_HWCONTROL_NONE;
  huart2.Init.OverSampling = UART_OVERSAMPLING_16;
  if (HAL_UART_Init(&huart2) != HAL_OK) {
    Error_Handler();
  }
}

static void MX_GPIO_Init(void) {
  GPIO_InitTypeDef GPIO_InitStruct = {0};

  /* GPIO Ports Clock Enable */
  __HAL_RCC_GPIOE_CLK_ENABLE();
  __HAL_RCC_GPIOC_CLK_ENABLE();
  __HAL_RCC_GPIOH_CLK_ENABLE();
  __HAL_RCC_GPIOA_CLK_ENABLE();
  __HAL_RCC_GPIOB_CLK_ENABLE();
  __HAL_RCC_GPIOD_CLK_ENABLE();

  /*Configure GPIO pin Output Level */
  HAL_GPIO_WritePin(GPIOE, GPIO_PIN_3 | DIR_X_Pin | DIR_Y_Pin | DIR_Z_Pin,
                    GPIO_PIN_RESET);

  /*Configure GPIO pin Output Level */
  HAL_GPIO_WritePin(OTG_FS_PowerSwitchOn_GPIO_Port, OTG_FS_PowerSwitchOn_Pin,
                    GPIO_PIN_SET);

  /*Configure GPIO pin Output Level */
  HAL_GPIO_WritePin(RELAY_BRAKE_GPIO_Port, RELAY_BRAKE_Pin, GPIO_PIN_SET);

  /*Configure GPIO pin Output Level */
  HAL_GPIO_WritePin(GPIOB, HX711_4_SCK_Pin | HX711_3_SCK_Pin, GPIO_PIN_RESET);

  /*Configure GPIO pin Output Level */
  HAL_GPIO_WritePin(GPIOD,
                    HX711_2_SCK_Pin | HX711_1_SCK_Pin | LD4_Pin | LD3_Pin | LD5_Pin | LD6_Pin |
                        Audio_RST_Pin,
                    GPIO_PIN_RESET);

  /*Configure GPIO pins : PE3 DIR_X_Pin DIR_Y_Pin DIR_Z_Pin */
  GPIO_InitStruct.Pin = GPIO_PIN_3 | DIR_X_Pin | DIR_Y_Pin | DIR_Z_Pin;
  GPIO_InitStruct.Mode = GPIO_MODE_OUTPUT_PP;
  GPIO_InitStruct.Pull = GPIO_NOPULL;
  GPIO_InitStruct.Speed = GPIO_SPEED_FREQ_LOW;
  HAL_GPIO_Init(GPIOE, &GPIO_InitStruct);

  /*Configure GPIO pins : LIMIT_X_Pin LIMIT_Y_Pin LIMIT_Z_Pin */
  GPIO_InitStruct.Pin = LIMIT_X_Pin | LIMIT_Y_Pin | LIMIT_Z_Pin;
  GPIO_InitStruct.Mode = GPIO_MODE_INPUT;
  GPIO_InitStruct.Pull = GPIO_PULLUP;
  HAL_GPIO_Init(GPIOE, &GPIO_InitStruct);

  /*Configure GPIO pin : OTG_FS_PowerSwitchOn_Pin */
  GPIO_InitStruct.Pin = OTG_FS_PowerSwitchOn_Pin;
  GPIO_InitStruct.Mode = GPIO_MODE_OUTPUT_PP;
  GPIO_InitStruct.Pull = GPIO_NOPULL;
  GPIO_InitStruct.Speed = GPIO_SPEED_FREQ_LOW;
  HAL_GPIO_Init(OTG_FS_PowerSwitchOn_GPIO_Port, &GPIO_InitStruct);

  /*Configure GPIO pin : PDM_OUT_Pin */
  GPIO_InitStruct.Pin = PDM_OUT_Pin;
  GPIO_InitStruct.Mode = GPIO_MODE_AF_PP;
  GPIO_InitStruct.Pull = GPIO_NOPULL;
  GPIO_InitStruct.Speed = GPIO_SPEED_FREQ_LOW;
  GPIO_InitStruct.Alternate = GPIO_AF5_SPI2;
  HAL_GPIO_Init(PDM_OUT_GPIO_Port, &GPIO_InitStruct);

  /*Configure GPIO pin : B1_Pin */
  GPIO_InitStruct.Pin = B1_Pin;
  GPIO_InitStruct.Mode = GPIO_MODE_EVT_RISING;
  GPIO_InitStruct.Pull = GPIO_NOPULL;
  HAL_GPIO_Init(B1_GPIO_Port, &GPIO_InitStruct);

  /*Configure GPIO pins : PB2 HX711_4_DT_Pin HX711_3_DT_Pin */
  GPIO_InitStruct.Pin = GPIO_PIN_2 | HX711_4_DT_Pin | HX711_3_DT_Pin;
  GPIO_InitStruct.Mode = GPIO_MODE_INPUT;
  GPIO_InitStruct.Pull = GPIO_NOPULL;
  HAL_GPIO_Init(GPIOB, &GPIO_InitStruct);

  /*Configure GPIO pin : RELAY_BRAKE_Pin */
  GPIO_InitStruct.Pin = RELAY_BRAKE_Pin;
  GPIO_InitStruct.Mode = GPIO_MODE_OUTPUT_OD;
  GPIO_InitStruct.Pull = GPIO_NOPULL;
  GPIO_InitStruct.Speed = GPIO_SPEED_FREQ_LOW;
  HAL_GPIO_Init(RELAY_BRAKE_GPIO_Port, &GPIO_InitStruct);

  /*Configure GPIO pin : CLK_IN_Pin */
  GPIO_InitStruct.Pin = CLK_IN_Pin;
  GPIO_InitStruct.Mode = GPIO_MODE_AF_PP;
  GPIO_InitStruct.Pull = GPIO_NOPULL;
  GPIO_InitStruct.Speed = GPIO_SPEED_FREQ_LOW;
  GPIO_InitStruct.Alternate = GPIO_AF5_SPI2;
  HAL_GPIO_Init(CLK_IN_GPIO_Port, &GPIO_InitStruct);

  /*Configure GPIO pins : HX711_4_SCK_Pin HX711_3_SCK_Pin */
  GPIO_InitStruct.Pin = HX711_4_SCK_Pin | HX711_3_SCK_Pin;
  GPIO_InitStruct.Mode = GPIO_MODE_OUTPUT_PP;
  GPIO_InitStruct.Pull = GPIO_NOPULL;
  GPIO_InitStruct.Speed = GPIO_SPEED_FREQ_LOW;
  HAL_GPIO_Init(GPIOB, &GPIO_InitStruct);

  /*Configure GPIO pins : HX711_2_SCK_Pin HX711_1_SCK_Pin LD4_Pin LD3_Pin
                           LD5_Pin LD6_Pin Audio_RST_Pin */
  GPIO_InitStruct.Pin = HX711_2_SCK_Pin | HX711_1_SCK_Pin | LD4_Pin | LD3_Pin
                          | LD5_Pin | LD6_Pin | Audio_RST_Pin;
  GPIO_InitStruct.Mode = GPIO_MODE_OUTPUT_PP;
  GPIO_InitStruct.Pull = GPIO_NOPULL;
  GPIO_InitStruct.Speed = GPIO_SPEED_FREQ_LOW;
  HAL_GPIO_Init(GPIOD, &GPIO_InitStruct);

  /*Configure GPIO pins : HX711_2_DT_Pin HX711_1_DT_Pin OTG_FS_OverCurrent_Pin */
  GPIO_InitStruct.Pin = HX711_2_DT_Pin | HX711_1_DT_Pin | OTG_FS_OverCurrent_Pin;
  GPIO_InitStruct.Mode = GPIO_MODE_INPUT;
  GPIO_InitStruct.Pull = GPIO_NOPULL;
  HAL_GPIO_Init(GPIOD, &GPIO_InitStruct);

  /*Configure GPIO pin : MEMS_INT2_Pin */
  GPIO_InitStruct.Pin = MEMS_INT2_Pin;
  GPIO_InitStruct.Mode = GPIO_MODE_EVT_RISING;
  GPIO_InitStruct.Pull = GPIO_NOPULL;
  HAL_GPIO_Init(MEMS_INT2_GPIO_Port, &GPIO_InitStruct);

  /* USER CODE BEGIN MX_GPIO_Init_2 */
  HAL_GPIO_WritePin(DIR_X_GPIO_Port, DIR_X_Pin, GPIO_PIN_SET);
  HAL_GPIO_WritePin(DIR_Y_GPIO_Port, DIR_Y_Pin, GPIO_PIN_SET);
  HAL_GPIO_WritePin(DIR_Z_GPIO_Port, DIR_Z_Pin, GPIO_PIN_SET);
  /* USER CODE END MX_GPIO_Init_2 */
}

/* USER CODE BEGIN 4 */

// ============================================================================
//               4-CELL FORCE MODULE
// ============================================================================

uint8_t Try_Read_HX711(GPIO_TypeDef *dt_port, uint16_t dt_pin,
                       GPIO_TypeDef *sck_port, uint16_t sck_pin,
                       int32_t *out_data) {
  uint32_t t0 = HAL_GetTick();
  while (HAL_GPIO_ReadPin(dt_port, dt_pin) == GPIO_PIN_SET) {
    if (HAL_GetTick() - t0 > 200) return 0;
  }

  int32_t count = 0;
  __disable_irq();
  for (int i = 0; i < 24; i++) {
    HAL_GPIO_WritePin(sck_port, sck_pin, GPIO_PIN_SET);
    count = count << 1;
    HAL_GPIO_WritePin(sck_port, sck_pin, GPIO_PIN_RESET);
    if (HAL_GPIO_ReadPin(dt_port, dt_pin) == GPIO_PIN_SET) {
      count++;
    }
  }
  HAL_GPIO_WritePin(sck_port, sck_pin, GPIO_PIN_SET);
  HAL_GPIO_WritePin(sck_port, sck_pin, GPIO_PIN_RESET);
  __enable_irq();

  if (count & 0x800000) {
    count |= (int32_t)0xFF000000;
  }

  *out_data = count;
  return 1;
}

void Force_Tare(void) {
  int64_t sum1 = 0, sum2 = 0, sum3 = 0, sum4 = 0;
  int good1 = 0, good2 = 0, good3 = 0, good4 = 0;
  int32_t val;

  for (int i = 0; i < TARE_SAMPLES; i++) {
    if (Try_Read_HX711(HX711_1_DT_GPIO_Port, HX711_1_DT_Pin,
                       HX711_1_SCK_GPIO_Port, HX711_1_SCK_Pin, &val)) {
      sum1 += val; good1++;
    }
    if (Try_Read_HX711(HX711_2_DT_GPIO_Port, HX711_2_DT_Pin,
                       HX711_2_SCK_GPIO_Port, HX711_2_SCK_Pin, &val)) {
      sum2 += val; good2++;
    }
    if (Try_Read_HX711(HX711_3_DT_GPIO_Port, HX711_3_DT_Pin,
                       HX711_3_SCK_GPIO_Port, HX711_3_SCK_Pin, &val)) {
      sum3 += val; good3++;
    }
    if (Try_Read_HX711(HX711_4_DT_GPIO_Port, HX711_4_DT_Pin,
                       HX711_4_SCK_GPIO_Port, HX711_4_SCK_Pin, &val)) {
      sum4 += val; good4++;
    }
    HAL_Delay(20);
  }

  offset_1 = (good1 > 0) ? (int32_t)(sum1 / good1) : HARDCODED_OFFSET_1;
  offset_2 = (good2 > 0) ? (int32_t)(sum2 / good2) : HARDCODED_OFFSET_2;
  offset_3 = (good3 > 0) ? (int32_t)(sum3 / good3) : HARDCODED_OFFSET_3;
  offset_4 = (good4 > 0) ? (int32_t)(sum4 / good4) : HARDCODED_OFFSET_4;

  last_good_z1 = 0; last_good_z2 = 0;
  last_good_z3 = 0; last_good_z4 = 0;
  tare_done = 1;
}

void Force_Update(volatile float *fx, volatile float *fy, volatile float *fz) {
  int32_t val;

  if (Try_Read_HX711(HX711_1_DT_GPIO_Port, HX711_1_DT_Pin,
                     HX711_1_SCK_GPIO_Port, HX711_1_SCK_Pin, &val))
    raw_1 = val;

  if (Try_Read_HX711(HX711_2_DT_GPIO_Port, HX711_2_DT_Pin,
                     HX711_2_SCK_GPIO_Port, HX711_2_SCK_Pin, &val))
    raw_2 = val;

  if (Try_Read_HX711(HX711_3_DT_GPIO_Port, HX711_3_DT_Pin,
                     HX711_3_SCK_GPIO_Port, HX711_3_SCK_Pin, &val))
    raw_3 = val;

  if (Try_Read_HX711(HX711_4_DT_GPIO_Port, HX711_4_DT_Pin,
                     HX711_4_SCK_GPIO_Port, HX711_4_SCK_Pin, &val))
    raw_4 = val;

  int32_t z1 = raw_1 - offset_1;
  int32_t z2 = raw_2 - offset_2;
  int32_t z3 = raw_3 - offset_3;
  int32_t z4 = raw_4 - offset_4;

  if (z1 > MAX_SANE_ZEROED || z1 < -MAX_SANE_ZEROED) z1 = last_good_z1;
  else last_good_z1 = z1;

  if (z2 > MAX_SANE_ZEROED || z2 < -MAX_SANE_ZEROED) z2 = last_good_z2;
  else last_good_z2 = z2;

  if (z3 > MAX_SANE_ZEROED || z3 < -MAX_SANE_ZEROED) z3 = last_good_z3;
  else last_good_z3 = z3;

  if (z4 > MAX_SANE_ZEROED || z4 < -MAX_SANE_ZEROED) z4 = last_good_z4;
  else last_good_z4 = z4;

  newton_1 = (float)z1 / cell_scale_1;
  newton_2 = (float)z2 / cell_scale_2;
  newton_3 = (float)z3 / cell_scale_3;
  newton_4 = (float)z4 / cell_scale_4;

  float raw_fx = decouple[0][0] * newton_1 + decouple[0][1] * newton_2 +
                 decouple[0][2] * newton_3 + decouple[0][3] * newton_4;
  float raw_fy = decouple[1][0] * newton_1 + decouple[1][1] * newton_2 +
                 decouple[1][2] * newton_3 + decouple[1][3] * newton_4;
  float raw_fz = decouple[2][0] * newton_1 + decouple[2][1] * newton_2 +
                 decouple[2][2] * newton_3 + decouple[2][3] * newton_4;

  if (!ema_primed) {
    ema_X = raw_fx;
    ema_Y = raw_fy;
    ema_Z = raw_fz;
    ema_primed = 1;
  } else {
    ema_X = EMA_ALPHA * raw_fx + (1.0f - EMA_ALPHA) * ema_X;
    ema_Y = EMA_ALPHA * raw_fy + (1.0f - EMA_ALPHA) * ema_Y;
    ema_Z = EMA_ALPHA * raw_fz + (1.0f - EMA_ALPHA) * ema_Z;
  }
  *fx = ema_X;
  *fy = ema_Y;
  *fz = ema_Z;
}

void HAL_UART_RxCpltCallback(UART_HandleTypeDef *huart) {
  if (huart->Instance == USART2) {
    if (rx_char == '<') {
      // Start of a new message. Reset the buffer.
      rx_index = 0;
      new_target_received = 0;
    } else if (rx_char == '>') {
      // End of the message. Null-terminate and flag it.
      rx_buffer[rx_index] = '\0';
      new_target_received = 1;
    } else {
      // Standard character. Add it to the array safely, ignoring \r and \n to
      // prevent null terminator overwrite
      if (new_target_received == 0 && rx_index < 63 && rx_char != '\r' &&
          rx_char != '\n') {
        rx_buffer[rx_index] = (char)rx_char;
        rx_index++;
      }
    }

    // Re-arm the interrupt to catch the next character
    HAL_UART_Receive_IT(&huart2, &rx_char, 1);
  }
}

void HAL_UART_ErrorCallback(UART_HandleTypeDef *huart) {
  if (huart->Instance == USART2) {
    // On STM32F4, reading SR then DR clears all error flags (ORE, NE, FE, PE)
    __HAL_UART_CLEAR_OREFLAG(huart);
    huart->ErrorCode = HAL_UART_ERROR_NONE;

    // Re-arm the receiver so UART never goes permanently deaf
    HAL_UART_Receive_IT(&huart2, &rx_char, 1);
  }
}

void HAL_UART_TxCpltCallback(UART_HandleTypeDef *huart) {
  if (huart->Instance == USART2) {
    tx_complete = 1; // Buffer is free, allow next telemetry send
  }
}

// ==========================================
//     DIRECTION-AWARE VELOCITY CONTROLLER
// ==========================================
// Instead of spring-mass-damper admittance, this uses a simple rule:
//  - Correct-direction force ≥4N → move at 20 mm/s toward target
//  - Correct-direction force <4N → scale proportionally
//  - Near target (<20mm) → slow to 5 mm/s constant approach
//  - Wrong-direction force → slight compliance, then rigid
//  - No force → gentle auto-pull toward target (for MOVE_TO_START)

#define CTRL_MAX_SPEED    20.0f   // mm/s at full force
#define CTRL_FORCE_SAT    4.0f    // N at which max speed is reached
#define CTRL_NEAR_DIST    20.0f   // mm: switch to approach speed
#define CTRL_NEAR_SPEED   5.0f    // mm/s: constant approach speed near target
#define CTRL_ARRIVE_DIST  1.0f    // mm: close enough = arrived
#define CTRL_FORCE_DEAD   0.3f    // N: below this = no user input
#define CTRL_COMPLY_MAX   3.0f    // mm/s: max wrong-direction compliance speed
#define CTRL_AUTO_SPEED   20.0f   // mm/s: auto-pull toward target when no user force
#define CTRL_MAX_ACCEL    100.0f  // mm/s²: acceleration ramp limit

static inline float fabsf_safe(float x) { return x >= 0.0f ? x : -x; }

/**
 * @brief  Compute the desired velocity for one axis.
 * @param  force   Measured force on this axis (N, signed)
 * @param  pos     Current position (mm)
 * @param  target  Target position (mm)
 * @retval Desired velocity (mm/s, signed toward target)
 */
static float Compute_Desired_Velocity(float force, float pos, float target) {
  float error = target - pos;
  float dist = fabsf_safe(error);
  float dir = (error >= 0.0f) ? 1.0f : -1.0f;
  float force_mag = fabsf_safe(force);
  float force_toward = force * dir; // positive = helping

  // Arrived at target
  if (dist < CTRL_ARRIVE_DIST) {
    return 0.0f;
  }

  // --- Auto-pull: MOVE_TO_START (K>=40) or motor test mode ---
  // No force needed, gantry navigates autonomously to target
  if (motor_test_mode || stiffness_K >= 40.0f) {
    float speed = CTRL_AUTO_SPEED;
    if (dist < CTRL_NEAR_DIST) speed = CTRL_NEAR_SPEED;
    return speed * dir;
  }

  // --- Normal mode: force-driven only ---
  // Below deadband = no movement
  if (force_mag < CTRL_FORCE_DEAD) {
    return 0.0f;
  }

  // Force in correct direction — proportional speed
  if (force_toward > 0.0f) {
    float speed = (force_toward / CTRL_FORCE_SAT) * CTRL_MAX_SPEED;
    if (speed > CTRL_MAX_SPEED) speed = CTRL_MAX_SPEED;
    if (dist < CTRL_NEAR_DIST) {
      if (speed > CTRL_NEAR_SPEED) speed = CTRL_NEAR_SPEED;
    }
    return speed * dir;
  }

  // Force in wrong direction — slight compliance, capped
  float comply = force_mag * 1.0f;
  if (comply > CTRL_COMPLY_MAX) comply = CTRL_COMPLY_MAX;
  return (force >= 0.0f ? 1.0f : -1.0f) * comply;
}

/**
 * @brief  Apply velocity to a stepper motor (direction pin + PWM frequency).
 */
static void Apply_Motor(float vel, TIM_HandleTypeDef *htim, uint32_t ch,
                        GPIO_TypeDef *dir_port, uint16_t dir_pin, uint8_t invert_dir) {
  if (vel == 0.0f) {
    if (__HAL_TIM_GET_COMPARE(htim, ch) != 0) {
      __HAL_TIM_SET_COMPARE(htim, ch, 0);
    }
  } else {
    uint8_t pos_dir = invert_dir ? GPIO_PIN_SET : GPIO_PIN_RESET;
    uint8_t neg_dir = invert_dir ? GPIO_PIN_RESET : GPIO_PIN_SET;
    HAL_GPIO_WritePin(dir_port, dir_pin,
                      vel > 0.0f ? pos_dir : neg_dir);
    float freq = fabsf_safe(vel) * PULSES_PER_MM;
    if (freq < 1.0f) {
      if (__HAL_TIM_GET_COMPARE(htim, ch) != 0) {
        __HAL_TIM_SET_COMPARE(htim, ch, 0);
      }
    } else {
      uint32_t arr = (uint32_t)(TIMER_CLOCK / freq);
      // Only write to timer registers if the frequency changed or it was previously stopped
      if (__HAL_TIM_GET_AUTORELOAD(htim) != arr || __HAL_TIM_GET_COMPARE(htim, ch) == 0) {
        __HAL_TIM_SET_AUTORELOAD(htim, arr);
        __HAL_TIM_SET_COMPARE(htim, ch, arr / 2);
      }
    }
  }
}

void HAL_SYSTICK_Callback(void) {
  // During homing, the main() loop controls timers directly — don't interfere
  if (homing_active) return;

  float dt = 0.001f;

  // If no game active (K=0), hold position — all motors off
  if (stiffness_K <= 0.0f) {
    velocity_X = 0.0f;
    velocity_Y = 0.0f;
    velocity_Z = 0.0f;
    __HAL_TIM_SET_COMPARE(&htim3, TIM_CHANNEL_1, 0);
    __HAL_TIM_SET_COMPARE(&htim4, TIM_CHANNEL_2, 0);
    __HAL_TIM_SET_COMPARE(&htim2, TIM_CHANNEL_2, 0);
    return;
  }

  // --- X-Axis ---
  {
    float desired = Compute_Desired_Velocity(force_X, current_pos_X, target_X);
    float dv = desired - velocity_X;
    float max_dv = CTRL_MAX_ACCEL * dt;
    if (dv > max_dv) dv = max_dv;
    if (dv < -max_dv) dv = -max_dv;
    velocity_X += dv;

    current_pos_X += velocity_X * dt;
    if (current_pos_X < POS_MIN_X) { current_pos_X = POS_MIN_X; velocity_X = 0.0f; }
    if (current_pos_X > POS_MAX_X) { current_pos_X = POS_MAX_X; velocity_X = 0.0f; }

    Apply_Motor(velocity_X, &htim3, TIM_CHANNEL_1, DIR_X_GPIO_Port, DIR_X_Pin, 1); // X is inverted
  }

  // --- Y-Axis ---
  {
    float desired = Compute_Desired_Velocity(force_Y, current_pos_Y, target_Y);
    float dv = desired - velocity_Y;
    float max_dv = CTRL_MAX_ACCEL * dt;
    if (dv > max_dv) dv = max_dv;
    if (dv < -max_dv) dv = -max_dv;
    velocity_Y += dv;

    current_pos_Y += velocity_Y * dt;
    if (current_pos_Y < POS_MIN_Y) { current_pos_Y = POS_MIN_Y; velocity_Y = 0.0f; }
    if (current_pos_Y > POS_MAX_Y) { current_pos_Y = POS_MAX_Y; velocity_Y = 0.0f; }

    Apply_Motor(velocity_Y, &htim4, TIM_CHANNEL_2, DIR_Y_GPIO_Port, DIR_Y_Pin, 0);
  }

  // --- Z-Axis (with brake interlock) ---
  if (z_enable == 1) {
    float desired = Compute_Desired_Velocity(-force_Z, current_pos_Z, target_Z);
    float dv = desired - velocity_Z;
    float max_dv = CTRL_MAX_ACCEL * dt;
    if (dv > max_dv) dv = max_dv;
    if (dv < -max_dv) dv = -max_dv;
    velocity_Z += dv;

    current_pos_Z += velocity_Z * dt;
    if (current_pos_Z < POS_MIN_Z) { current_pos_Z = POS_MIN_Z; velocity_Z = 0.0f; }
    if (current_pos_Z > POS_MAX_Z) { current_pos_Z = POS_MAX_Z; velocity_Z = 0.0f; }

    Apply_Motor(velocity_Z, &htim2, TIM_CHANNEL_2, DIR_Z_GPIO_Port, DIR_Z_Pin, 0);
  } else {
    // SAFETY INTERLOCK: Brake is clamped.
    __HAL_TIM_SET_COMPARE(&htim2, TIM_CHANNEL_2, 0);
    velocity_Z = 0.0f;
  }
}
/* USER CODE END 4 */

void Error_Handler(void) {
  __disable_irq();
  while (1) {
  }
}

#ifdef USE_FULL_ASSERT
/**
 * @brief  Reports the name of the source file and the source line number
 * where the assert_param error has occurred.
 * @param  file: pointer to the source file name
 * @param  line: assert_param error line source number
 * @retval None
 */
void assert_failed(uint8_t *file, uint32_t line) {
  /* USER CODE BEGIN 6 */
  /* User can add his own implementation to report the file name and line
     number, ex: printf("Wrong parameters value: file %s on line %d\r\n", file,
     line) */
  /* USER CODE END 6 */
}
#endif /* USE_FULL_ASSERT */
